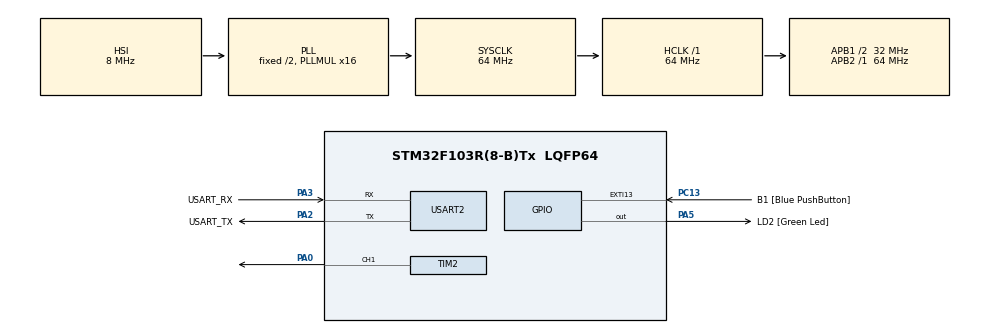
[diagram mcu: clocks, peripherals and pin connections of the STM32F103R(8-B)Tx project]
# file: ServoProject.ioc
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Dma.Request0=USART2_RX
Dma.Request1=USART2_TX
Dma.USART2_RX.0.Direction=DMA_PERIPH_TO_MEMORY
Dma.USART2_RX.0.Instance=DMA1_Channel6
Dma.USART2_RX.0.MemDataAlignment=DMA_MDATAALIGN_BYTE
Dma.USART2_RX.0.MemInc=DMA_MINC_ENABLE
Dma.USART2_RX.0.Mode=DMA_CIRCULAR
Dma.USART2_RX.0.PeriphDataAlignment=DMA_PDATAALIGN_BYTE
Dma.USART2_RX.0.PeriphInc=DMA_PINC_DISABLE
Dma.USART2_RX.0.Priority=DMA_PRIORITY_LOW
Dma.USART2_TX.1.Direction=DMA_MEMORY_TO_PERIPH
Dma.USART2_TX.1.Instance=DMA1_Channel7
Dma.USART2_TX.1.MemDataAlignment=DMA_MDATAALIGN_BYTE
Dma.USART2_TX.1.MemInc=DMA_MINC_ENABLE
Dma.USART2_TX.1.Mode=DMA_CIRCULAR
Dma.USART2_TX.1.PeriphDataAlignment=DMA_PDATAALIGN_BYTE
Dma.USART2_TX.1.PeriphInc=DMA_PINC_DISABLE
Dma.USART2_TX.1.Priority=DMA_PRIORITY_LOW
Mcu.Family=STM32F1
Mcu.Name=STM32F103R(8-B)Tx
Mcu.Package=LQFP64
NVIC.DMA1_Channel6_IRQn=true\:0\:0\:false\:false\:true\:false\:true\:true
NVIC.DMA1_Channel7_IRQn=true\:0\:0\:false\:false\:true\:false\:true\:true
NVIC.EXTI15_10_IRQn=true\:0\:0\:false\:false\:true\:true\:true\:true
NVIC.PriorityGroup=NVIC_PRIORITYGROUP_4
NVIC.USART2_IRQn=true\:0\:0\:false\:false\:true\:true\:true\:true
PA0-WKUP.Signal=S_TIM2_CH1_ETR
PA13.GPIO_Label=TMS
PA13.Mode=Serial_Wire
PA13.Signal=SYS_JTMS-SWDIO
PA14.GPIO_Label=TCK
PA14.Mode=Serial_Wire
PA14.Signal=SYS_JTCK-SWCLK
PA2.GPIO_Label=USART_TX
PA2.GPIO_Mode=GPIO_MODE_AF_PP
PA2.GPIO_PuPd=GPIO_NOPULL
PA2.GPIO_Speed=GPIO_SPEED_FREQ_LOW
PA2.Mode=Asynchronous
PA2.Signal=USART2_TX
PA3.GPIO_Label=USART_RX
PA3.GPIO_Mode=GPIO_MODE_AF_PP
PA3.GPIO_PuPd=GPIO_NOPULL
PA3.GPIO_Speed=GPIO_SPEED_FREQ_LOW
PA3.Mode=Asynchronous
PA3.Signal=USART2_RX
PA5.GPIO_Label=LD2 [Green Led]
PA5.GPIO_ModeDefaultOutputPP=GPIO_MODE_OUTPUT_PP
PA5.GPIO_PuPd=GPIO_NOPULL
PA5.GPIO_Speed=GPIO_SPEED_FREQ_LOW
PA5.Signal=GPIO_Output
PB3.GPIO_Label=SWO
PB3.Signal=SYS_JTDO-TRACESWO
PC13-TAMPER-RTC.GPIO_Label=B1 [Blue PushButton]
PC13-TAMPER-RTC.GPIO_PuPd=GPIO_NOPULL
PC13-TAMPER-RTC.Signal=GPXTI13
PC14-OSC32_IN.Mode=LSE-External-Oscillator
PC14-OSC32_IN.Signal=RCC_OSC32_IN
PC15-OSC32_OUT.Mode=LSE-External-Oscillator
PC15-OSC32_OUT.Signal=RCC_OSC32_OUT
PD0-OSC_IN.Mode=HSE-External-Clock-Source
PD0-OSC_IN.Signal=RCC_OSC_IN
PD1-OSC_OUT.Mode=HSE-External-Clock-Source
PD1-OSC_OUT.Signal=RCC_OSC_OUT
ProjectManager.HeapSize=0x200
ProjectManager.StackSize=0x400
ProjectManager.TargetToolchain=STM32CubeIDE
RCC.AHBFreq_Value=64000000
RCC.APB1CLKDivider=RCC_HCLK_DIV2
RCC.APB1Freq_Value=32000000
RCC.APB1TimFreq_Value=64000000
RCC.APB2Freq_Value=64000000
RCC.APB2TimFreq_Value=64000000
RCC.HCLKFreq_Value=64000000
RCC.PLLMUL=RCC_PLL_MUL16
RCC.RTCClockSelection=RCC_RTCCLKSOURCE_LSE
RCC.SYSCLKFreq_VALUE=64000000
RCC.SYSCLKSource=RCC_SYSCLKSOURCE_PLLCLK
RCC.USBFreq_Value=64000000
SH.S_TIM2_CH1_ETR.0=TIM2_CH1,PWM Generation1 CH1
TIM2.Channel-PWM\ Generation1\ CH1=TIM_CHANNEL_1
TIM2.Period=19999
TIM2.Prescaler=71
USART2.VirtualMode=VM_ASYNC
VP_TIM2_VS_ClockSourceINT.Mode=Internal
board=NUCLEO-F103RB

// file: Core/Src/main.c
/* USER CODE BEGIN Header */
/**
  ******************************************************************************
  * @file           : main.c
  * @brief          : Main program body
  ******************************************************************************
  * @attention
  *
  * Copyright (c) 2025 STMicroelectronics.
  * All rights reserved.
  *
  * This software is licensed under terms that can be found in the LICENSE file
  * in the root directory of this software component.
  * If no LICENSE file comes with this software, it is provided AS-IS.
  *
  ******************************************************************************
  */
/* USER CODE END Header */
#ifdef UNIT_TEST
	#include "test_common.h"
#else
	#include "main.h"
	#include "protocol.h"
	#include "servo.h"
	#include <stdio.h>
	#include <string.h>
	#include <stdlib.h>
#endif

TIM_HandleTypeDef htim2;
UART_HandleTypeDef huart2;
DMA_HandleTypeDef hdma_usart2_rx;
DMA_HandleTypeDef hdma_usart2_tx;

/* USER CODE BEGIN PV */
uint8_t rx_index = 0;                  // Current position in the buffer
volatile uint8_t commandComplete = 0;  // Flag set when a full command is received
volatile uint8_t current_angle = 90;   // Current servo angle (default 90°)
uint8_t dmaBuffer[DMA_BUFFER_SIZE]; // DMA buffer for UART reception //

/* USER CODE END PV */

void SystemClock_Config(void);
static void MX_GPIO_Init(void);
static void MX_USART2_UART_Init(void);
static void MX_TIM2_Init(void);
static void MX_DMA_Init(void);

/* USER CODE BEGIN PFP */
/* Global protocol context */
//ProtocolContext protocol_ctx;
/* USER CODE END PFP */

/* USER CODE BEGIN 0 */
// This function processes data received via DMA when an idle line is detected.
void ProcessUartData(uint32_t length)
{
    // Create a temporary buffer to hold the received line.
    char lineBuffer[DMA_BUFFER_SIZE + 1] = {0};

    // Copy the received data from dmaBuffer into lineBuffer.
    memcpy(lineBuffer, dmaBuffer, length);
    lineBuffer[length] = '\0';

    // For debugging, echo the received line:
    HAL_UART_Transmit(&huart2, (uint8_t*)"\r\nReceived: ", 12, 100);
    HAL_UART_Transmit(&huart2, (uint8_t*)lineBuffer, strlen(lineBuffer), 100);

    // Pass the received line to the protocol for processing.
    Protocol_ProcessCommand(&protocol_ctx, lineBuffer);
}

// Idle line detection callback: called when UART detects an idle condition.
void HAL_UART_IdleCallback(UART_HandleTypeDef *huart)
{
    if (huart->Instance == USART2)
    {
        // Stop DMA to determine how many bytes were received.
        HAL_UART_DMAStop(huart);
        uint32_t dmaRemaining = __HAL_DMA_GET_COUNTER(huart->hdmarx);
        uint32_t receivedLength = DMA_BUFFER_SIZE - dmaRemaining;

        // If a ramp command is running, flush any incoming data.
        if (protocol_ctx.state == STATE_RUNNING)
        {
            memset(dmaBuffer, 0, DMA_BUFFER_SIZE);
        }
        else if (receivedLength > 0)
        {
            ProcessUartData(receivedLength);
        }

        // Restart DMA reception.
        HAL_UART_Receive_DMA(huart, dmaBuffer, DMA_BUFFER_SIZE);
    }
}

/* USER CODE END 0 */

// In main.c, inside main():
int main(void)
{
    HAL_Init();
    SystemClock_Config();
    MX_GPIO_Init();
    MX_DMA_Init();
    MX_USART2_UART_Init();
    MX_TIM2_Init();

    // Use our servo module initialization.
    Servo_Init();

    huart2.Instance->CR1 |= USART_CR1_IDLEIE;

    Protocol_Init(&protocol_ctx);
    HAL_UART_Receive_DMA(&huart2, dmaBuffer, DMA_BUFFER_SIZE);
    HAL_UART_Transmit(&huart2, (uint8_t*)"UART PASS:\r\n", 14, UART_TX_TIMEOUT);

    while (1)
    {
        if (protocol_ctx.commandPending)
        {
            protocol_ctx.commandPending = 0;
            protocol_ctx.state = STATE_RUNNING;
            Servo_Ramp(&protocol_ctx.current_servo_angle,
                       protocol_ctx.pendingTargetAngle,
                       protocol_ctx.pendingStep);
            protocol_ctx.state = STATE_MENU;
            HAL_UART_Transmit(&huart2, (uint8_t*)CMD_EXECUTED_MSG, strlen(CMD_EXECUTED_MSG), UART_TX_TIMEOUT);
            Protocol_DisplayMenu();
        }
        HAL_Delay(100);
    }
}

void SystemClock_Config(void)
{
  RCC_OscInitTypeDef RCC_OscInitStruct = {0};
  RCC_ClkInitTypeDef RCC_ClkInitStruct = {0};

  /** Initializes the RCC Oscillators according to the specified parameters
  * in the RCC_OscInitTypeDef structure.
  */
  RCC_OscInitStruct.OscillatorType = RCC_OSCILLATORTYPE_HSI;
  RCC_OscInitStruct.HSIState = RCC_HSI_ON;
  RCC_OscInitStruct.HSICalibrationValue = RCC_HSICALIBRATION_DEFAULT;
  RCC_OscInitStruct.PLL.PLLState = RCC_PLL_ON;
  RCC_OscInitStruct.PLL.PLLSource = RCC_PLLSOURCE_HSI_DIV2;
  RCC_OscInitStruct.PLL.PLLMUL = RCC_PLL_MUL16;
  if (HAL_RCC_OscConfig(&RCC_OscInitStruct) != HAL_OK)
  {
    Error_Handler();
  }

  /** Initializes the CPU, AHB and APB buses clocks
  */
  RCC_ClkInitStruct.ClockType = RCC_CLOCKTYPE_HCLK|RCC_CLOCKTYPE_SYSCLK
                              |RCC_CLOCKTYPE_PCLK1|RCC_CLOCKTYPE_PCLK2;
  RCC_ClkInitStruct.SYSCLKSource = RCC_SYSCLKSOURCE_PLLCLK;
  RCC_ClkInitStruct.AHBCLKDivider = RCC_SYSCLK_DIV1;
  RCC_ClkInitStruct.APB1CLKDivider = RCC_HCLK_DIV2;
  RCC_ClkInitStruct.APB2CLKDivider = RCC_HCLK_DIV1;

  if (HAL_RCC_ClockConfig(&RCC_ClkInitStruct, FLASH_LATENCY_2) != HAL_OK)
  {
    Error_Handler();
  }
}

static void MX_TIM2_Init(void)
{

  TIM_ClockConfigTypeDef sClockSourceConfig = {0};
  TIM_MasterConfigTypeDef sMasterConfig = {0};
  TIM_OC_InitTypeDef sConfigOC = {0};

  htim2.Instance = TIM2;
  htim2.Init.Prescaler = 71;
  htim2.Init.CounterMode = TIM_COUNTERMODE_UP;
  htim2.Init.Period = 19999;
  htim2.Init.ClockDivision = TIM_CLOCKDIVISION_DIV1;
  htim2.Init.AutoReloadPreload = TIM_AUTORELOAD_PRELOAD_DISABLE;
  if (HAL_TIM_Base_Init(&htim2) != HAL_OK)
  {
    Error_Handler();
  }
  sClockSourceConfig.ClockSource = TIM_CLOCKSOURCE_INTERNAL;
  if (HAL_TIM_ConfigClockSource(&htim2, &sClockSourceConfig) != HAL_OK)
  {
    Error_Handler();
  }
  if (HAL_TIM_PWM_Init(&htim2) != HAL_OK)
  {
    Error_Handler();
  }
  sMasterConfig.MasterOutputTrigger = TIM_TRGO_RESET;
  sMasterConfig.MasterSlaveMode = TIM_MASTERSLAVEMODE_DISABLE;
  if (HAL_TIMEx_MasterConfigSynchronization(&htim2, &sMasterConfig) != HAL_OK)
  {
    Error_Handler();
  }
  sConfigOC.OCMode = TIM_OCMODE_PWM1;
  sConfigOC.Pulse = 0;
  sConfigOC.OCPolarity = TIM_OCPOLARITY_HIGH;
  sConfigOC.OCFastMode = TIM_OCFAST_DISABLE;
  if (HAL_TIM_PWM_ConfigChannel(&htim2, &sConfigOC, TIM_CHANNEL_1) != HAL_OK)
  {
    Error_Handler();
  }
  HAL_TIM_MspPostInit(&htim2);

}

static void MX_USART2_UART_Init(void)
{

  huart2.Instance = USART2;
  huart2.Init.BaudRate = 115200;
  huart2.Init.WordLength = UART_WORDLENGTH_8B;
  huart2.Init.StopBits = UART_STOPBITS_1;
  huart2.Init.Parity = UART_PARITY_NONE;
  huart2.Init.Mode = UART_MODE_TX_RX;
  huart2.Init.HwFlowCtl = UART_HWCONTROL_NONE;
  huart2.Init.OverSampling = UART_OVERSAMPLING_16;
  if (HAL_UART_Init(&huart2) != HAL_OK)
  {
    Error_Handler();
  }

}

static void MX_DMA_Init(void)
{

  /* DMA controller clock enable */
  __HAL_RCC_DMA1_CLK_ENABLE();

  /* DMA interrupt init */
  /* DMA1_Channel6_IRQn interrupt configuration */
  HAL_NVIC_SetPriority(DMA1_Channel6_IRQn, 0, 0);
  HAL_NVIC_EnableIRQ(DMA1_Channel6_IRQn);
  /* DMA1_Channel7_IRQn interrupt configuration */
  HAL_NVIC_SetPriority(DMA1_Channel7_IRQn, 0, 0);
  HAL_NVIC_EnableIRQ(DMA1_Channel7_IRQn);

}

static void MX_GPIO_Init(void)
{
  GPIO_InitTypeDef GPIO_InitStruct = {0};

  /* GPIO Ports Clock Enable */
  __HAL_RCC_GPIOC_CLK_ENABLE();
  __HAL_RCC_GPIOD_CLK_ENABLE();
  __HAL_RCC_GPIOA_CLK_ENABLE();
  __HAL_RCC_GPIOB_CLK_ENABLE();

  /*Configure GPIO pin Output Level */
  HAL_GPIO_WritePin(LD2_GPIO_Port, LD2_Pin, GPIO_PIN_RESET);

  /*Configure GPIO pin : B1_Pin */
  GPIO_InitStruct.Pin = B1_Pin;
  GPIO_InitStruct.Mode = GPIO_MODE_IT_RISING;
  GPIO_InitStruct.Pull = GPIO_NOPULL;
  HAL_GPIO_Init(B1_GPIO_Port, &GPIO_InitStruct);

  /*Configure GPIO pin : LD2_Pin */
  GPIO_InitStruct.Pin = LD2_Pin;
  GPIO_InitStruct.Mode = GPIO_MODE_OUTPUT_PP;
  GPIO_InitStruct.Pull = GPIO_NOPULL;
  GPIO_InitStruct.Speed = GPIO_SPEED_FREQ_LOW;
  HAL_GPIO_Init(LD2_GPIO_Port, &GPIO_InitStruct);

  /* EXTI interrupt init*/
  HAL_NVIC_SetPriority(EXTI15_10_IRQn, 0, 0);
  HAL_NVIC_EnableIRQ(EXTI15_10_IRQn);

}

void Error_Handler(void)
{
  __disable_irq();
  while (1)
  {
  }
}
